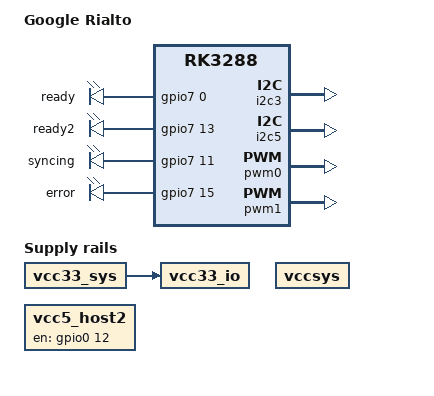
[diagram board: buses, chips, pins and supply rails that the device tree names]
/*
 * Google Veyron Rialto Rev0 board device tree source
 *
 * Copyright 2015 Google, Inc
 *
 * This program is free software; you can redistribute it and/or modify
 * it under the terms of the GNU General Public License version 2 as
 * published by the Free Software Foundation.
 */

/dts-v1/;

/ {
	/*
	 * This block is a hack in order to avoid deferral for power supplies.
	 * See chrome-os-partner:37022
	 */

	vccsys {
	};
};

#include "rk3288-veyron.dtsi"

/ {
	model = "Google Rialto";
	compatible = "google,veyron-rialto-rev3", "google,veyron-rialto-rev2",
		     "google,veyron-rialto-rev1", "google,veyron-rialto-rev0",
		     "google,veyron-rialto", "google,veyron", "rockchip,rk3288";

	gpio-keys {
		pinctrl-0 = <&bt_host_wake &pwr_key_l &push_key>;

		pushbutton {
			label = "PushButton";
			gpios = <&gpio7 9 GPIO_ACTIVE_LOW>;
			linux,code = <KEY_F1>;
			debounce-interval = <100>;
			gpio-key,wakeup;
		};
	};

	gpio-leds {
		compatible = "gpio-leds";
		pinctrl-names = "default";
		pinctrl-0 = <&led_ready &led_ready2 &led_syncing &led_error>;

		ready {
			gpios = <&gpio7 0 GPIO_ACTIVE_HIGH>;
			default-state = "on";
		};

		ready2 {
			gpios = <&gpio7 13 GPIO_ACTIVE_HIGH>;
			default-state = "on";
		};

		syncing {
			gpios = <&gpio7 11 GPIO_ACTIVE_HIGH>;
			default-state = "on";
		};

		error {
			gpios = <&gpio7 15 GPIO_ACTIVE_HIGH>;
			default-state = "on";
		};
	};

	/* A non-regulated voltage from power supply or battery */
	vccsys: vccsys {
		compatible = "regulator-fixed";
		regulator-name = "vccsys";
		regulator-boot-on;
		regulator-always-on;
	};

	vcc33_sys: vcc33-sys {
		vin-supply = <&vccsys>;
	};

	vcc_5v: vcc-5v {
		vin-supply = <&vccsys>;
	};

	vcc33_io: vcc33-io {
		compatible = "regulator-fixed";
		regulator-name = "vcc33_io";
		regulator-always-on;
		regulator-boot-on;
		vin-supply = <&vcc33_sys>;
	};

	/delete-node/ vcc50-hdmi;

	/* This turns on vbus for usb2 */
	vcc5_host2: vcc5-host2-regulator {
		compatible = "regulator-fixed";
		enable-active-high;
		gpio = <&gpio0 12 GPIO_ACTIVE_HIGH>;
		pinctrl-names = "default";
		pinctrl-0 = <&usb2_pwr_en>;
		regulator-name = "vcc5_host2";
		regulator-always-on;
		regulator-boot-on;
	};

	io-domains {
		/delete-property/ lcdc-supply;
	};
};

&cpu0 {
	/* Don't go above 1.4GHz */
	operating-points = <
		/* KHz    uV */
		1416000 1200000
		1200000 1100000
		1008000 1050000
		 816000 1000000
		 696000  950000
		 600000  900000
		 408000  900000
		 216000  900000
		 126000  900000
	>;
};

&dmc {
	status = "disabled";
};

&emmc {
	clock-freq-min-max = <400000 100000000>;
};

&rk808 {
	/delete-property/ vcc6-supply;
	vcc10-supply = <&vcc33_sys>;

	regulators {
		/* vcc33_io is sourced directly from vcc33_sys */
		/delete-node/ LDO_REG1;

		/* no vcc33_lcd */
		/delete-node/ SWITCH_REG1;

		vcc18_codec: LDO_REG6 { /* goes to nrf51 only, no codec exists */
			regulator-always-on;
			regulator-boot-on;
			regulator-min-microvolt = <1800000>;
			regulator-max-microvolt = <1800000>;
			regulator-name = "vcc18_codec";
			regulator-suspend-mem-disabled;
		};

		vcc18_lcd: SWITCH_REG2 {
			regulator-always-on;
			regulator-boot-on;
			regulator-name = "vcc18_lcd";
			regulator-suspend-mem-disabled;
		};
	};
};

&i2c2 {
	status = "disabled";
};

&i2c3 {
	/* Environmental Sensor, Bosch BME280  */
	status = "okay";
};

&i2c4 {
	status = "disabled";
};

&i2c5 {
	/*
	 * This i2c port curiously has to be on, otherwise we won't boot,
	 * perhaps because hdmi still wants this i2c interface?
	 */
	status = "okay";

	/* Nothing is connected here, not even pullups */
};

&pwm0 {
	status = "okay";
};

&pwm1 {
	status = "okay";
};

&uart1 {
	/* Connected to the NRF51 */
	pinctrl-names = "default";
	pinctrl-0 = <&uart1_xfer &uart1_cts &uart1_rts>;
};

&hdmi {
	hpd-ignore;
};

&pinctrl {
	pinctrl-0 = <
		/* Common for sleep and wake, but no owners */
		&ddr0_retention
		&ddrio_pwroff
		&modem_on_off
		&modem_shutdown
		&global_pwroff
	>;
	pinctrl-1 = <
		/* Common for sleep and wake, but no owners */
		&ddr0_retention
		&ddrio_pwroff
		&modem_on_off
		&modem_shutdown
		&global_pwroff
	>;

	/* These pins are not present on rialto, even though they should. */
	/delete-node/ bt_dev_wake_sleep;
	/delete-node/ bt_dev_wake_awake;

	buttons {
		push_key: push_key {
			rockchip,pins = <7 9 RK_FUNC_GPIO &pcfg_pull_up>;
		};
	};

	leds {
		led_ready: led_ready {
			rockchip,pins = <7 0 RK_FUNC_GPIO &pcfg_output_low>;
		};

		led_ready2: led_ready2 {
			rockchip,pins = <7 13 RK_FUNC_GPIO &pcfg_output_low>;
		};

		led_syncing: led_syncing {
			rockchip,pins = <7 11 RK_FUNC_GPIO &pcfg_output_low>;
		};

		led_error: led_error {
			rockchip,pins = <7 15 RK_FUNC_GPIO &pcfg_output_low>;
		};
	};

	modem {
		modem_on_off: modem-on-off-gpio {
			rockchip,pins = <4 26 RK_FUNC_GPIO &pcfg_output_low>;
		};

		modem_shutdown: modem-shutdown {
			rockchip,pins = <5 17 RK_FUNC_GPIO &pcfg_output_high>;
		};
	};

	usb-host {
		usb2_pwr_en: usb2-pwr-en {
			rockchip,pins = <0 12 RK_FUNC_GPIO &pcfg_pull_up>;
		};
	};
};

&sdio0 {
	clock-freq-min-max = <400000 100000000>;
};

&usb_otg {
	/*
	 * This is not actually connected, but there might be
	 * things relying on the usb clocks. So we'll keep it on
	 * instead of disabling.
	 */
};
